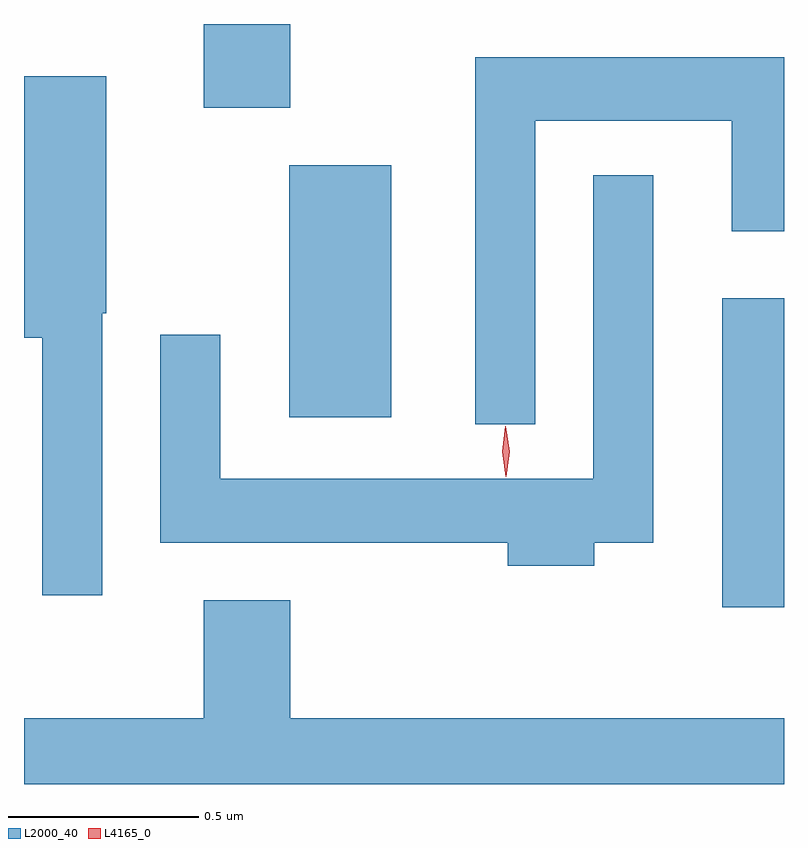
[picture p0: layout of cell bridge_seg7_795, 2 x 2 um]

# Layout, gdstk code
import gdstk
lib = gdstk.Library(unit=1e-6, precision=1e-09)
def R(c, l, rs):  # rectangles x0, y0, x1, y1
    for r in rs: c.add(gdstk.rectangle(r[:2], r[2:], *l))
def P(c, l, *ps):  # polygons
    for p in ps: c.add(gdstk.Polygon(p, *l))
L2000_40 = (2000, 40)
L4165_0 = (4165, 0)

bridge_seg7_795 = lib.new_cell('bridge_seg7_795')
R(bridge_seg7_795, L2000_40, [(505.376,1739.296,505.538,1740.109), (504.236,1739.796,504.504,1740.459), (504.011,1740.611,504.239,1740.831)])
P(bridge_seg7_795, L2000_40, [(504.884,1740.576),(505.401,1740.576),(505.401,1740.286),(505.538,1740.286),(505.538,1740.744),(504.726,1740.744),(504.726,1739.778),(504.884,1739.778)],
  [(503.744,1740.07),(503.754,1740.07),(503.754,1740.694),(503.538,1740.694),(503.538,1740.006),(503.586,1740.006),(503.586,1739.328),(503.744,1739.328)],
  [(505.039,1739.466),(505.194,1739.466),(505.194,1740.433),(505.036,1740.433),(505.036,1739.634),(504.054,1739.634),(504.054,1740.013),(503.896,1740.013),(503.896,1739.466),(504.811,1739.466),(504.811,1739.406),(505.039,1739.406)],
  [(505.538,1739.004),(504.239,1739.004),(504.239,1739.314),(504.011,1739.314),(504.011,1739.004),(503.538,1739.004),(503.538,1738.831),(505.538,1738.831)])
P(bridge_seg7_795, L4165_0, [(504.806,1739.639),(504.806,1739.64),(504.796,1739.706),(504.805,1739.772),(504.806,1739.773),(504.806,1739.772),(504.816,1739.706),(504.807,1739.64)])

lib.write_gds('bridge_seg7_795.gds')
